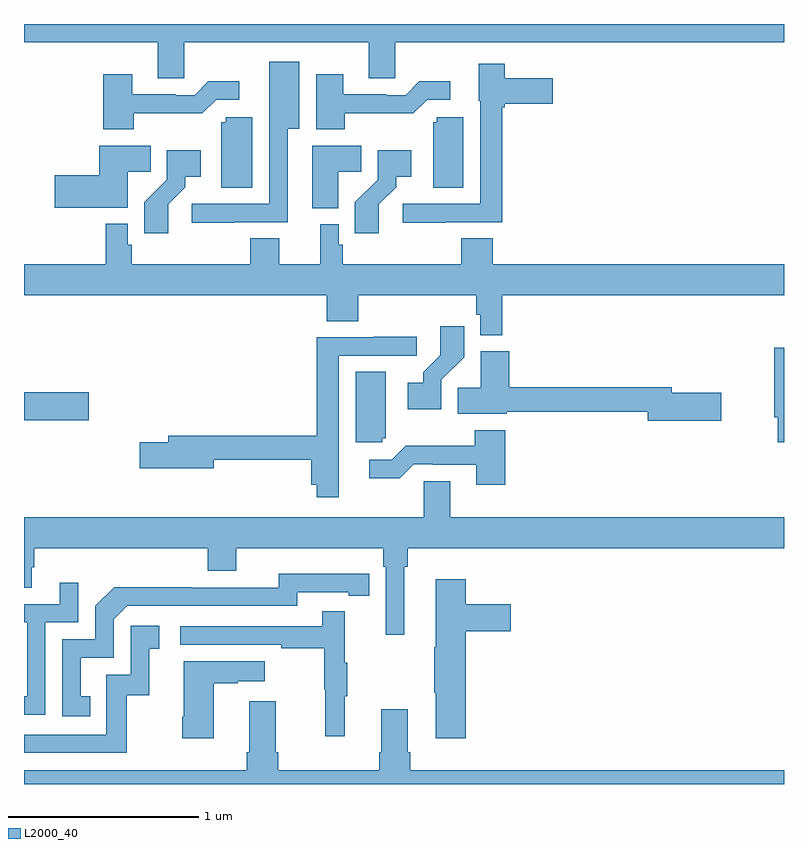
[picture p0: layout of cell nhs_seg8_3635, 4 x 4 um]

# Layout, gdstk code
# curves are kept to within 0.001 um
import gdstk
lib = gdstk.Library(unit=1e-6, precision=1e-09)
def R(c, l, rs):  # rectangles x0, y0, x1, y1
    for r in rs: c.add(gdstk.rectangle(r[:2], r[2:], *l))
def P(c, l, *ps):  # polygons
    for p in ps: c.add(gdstk.Polygon(p, *l))
L2000_40 = (2000, 40)

nhs_seg8_3635 = lib.new_cell('nhs_seg8_3635')
R(nhs_seg8_3635, L2000_40, [(335,1143.815,335.341,1143.962)])
P(nhs_seg8_3635, L2000_40, [(335.844,1145.804),(336.815,1145.804),(336.815,1145.614),(336.954,1145.614),(336.954,1145.804),(339,1145.804),(339,1145.9),(335,1145.9),(335,1145.804),(335.705,1145.804),(335.705,1145.614),(335.844,1145.614)],
  [(336.107,1144.857),(336.388,1144.857),(336.388,1145.348),(336.448,1145.348),(336.448,1145.701),(336.29,1145.701),(336.29,1145.452),(336.291,1145.452),(336.291,1144.953),(335.883,1144.953),(335.883,1144.855),(336.107,1144.855)],
  [(337.217,1144.857),(337.517,1144.857),(337.517,1145.462),(337.53,1145.462),(337.53,1145.48),(337.783,1145.48),(337.783,1145.614),(337.53,1145.614),(337.53,1145.692),(337.394,1145.692),(337.394,1145.496),(337.401,1145.496),(337.401,1144.953),(336.993,1144.953),(336.993,1144.855),(337.217,1144.855)],
  [(336.687,1145.43),(337.049,1145.429),(337.122,1145.502),(337.243,1145.502),(337.243,1145.599),(337.081,1145.599),(337.008,1145.526),(336.908,1145.526),(336.908,1145.529),(336.679,1145.529),(336.679,1145.635),(336.539,1145.635),(336.539,1145.345),(336.687,1145.345)],
  [(335.577,1145.43),(335.939,1145.429),(336.012,1145.502),(336.133,1145.502),(336.133,1145.599),(335.971,1145.599),(335.898,1145.526),(335.798,1145.526),(335.798,1145.529),(335.569,1145.529),(335.569,1145.635),(335.417,1145.635),(335.417,1145.345),(335.577,1145.345)],
  [(337.312,1145.409),(337.173,1145.409),(337.173,1145.382),(337.154,1145.382),(337.154,1145.038),(337.312,1145.038)],
  [(336.202,1145.409),(336.063,1145.409),(336.063,1145.382),(336.038,1145.382),(336.038,1145.038),(336.202,1145.038)],
  [(335.545,1145.122),(335.666,1145.122),(335.666,1145.26),(335.396,1145.26),(335.396,1145.105),(335.163,1145.105),(335.163,1144.934),(335.545,1144.934)],
  [(336.655,1145.122),(336.776,1145.122),(336.776,1145.26),(336.518,1145.26),(336.518,1144.931),(336.655,1144.931)],
  [(336.868,1144.951),(336.958,1145.041),(336.958,1145.096),(337.039,1145.096),(337.039,1145.236),(336.861,1145.236),(336.861,1145.081),(336.742,1144.962),(336.742,1144.8),(336.868,1144.8)],
  [(335.758,1144.951),(335.848,1145.041),(335.848,1145.096),(335.929,1145.096),(335.929,1145.236),(335.751,1145.236),(335.751,1145.081),(335.632,1144.962),(335.632,1144.8),(335.758,1144.8)],
  [(337.517,1144.472),(339,1144.472),(339,1144.636),(337.466,1144.636),(337.466,1144.772),(337.301,1144.772),(337.301,1144.636),(336.677,1144.636),(336.677,1144.737),(336.657,1144.737),(336.657,1144.846),(336.56,1144.846),(336.56,1144.636),(336.343,1144.636),(336.343,1144.772),(336.191,1144.772),(336.191,1144.636),(335.567,1144.636),(335.567,1144.737),(335.547,1144.737),(335.547,1144.849),(335.431,1144.849),(335.431,1144.636),(335,1144.636),(335,1144.472),(336.593,1144.472),(336.593,1144.336),(336.758,1144.336),(336.758,1144.472),(337.381,1144.472),(337.381,1144.371),(337.401,1144.371),(337.401,1144.262),(337.517,1144.262)],
  [(337.197,1144.027),(337.316,1144.146),(337.316,1144.309),(337.191,1144.309),(337.191,1144.157),(337.1,1144.067),(337.1,1144.012),(337.02,1144.012),(337.02,1143.872),(337.197,1143.872)],
  [(336.657,1144.155),(337.066,1144.155),(337.066,1144.254),(336.841,1144.254),(336.841,1144.251),(336.541,1144.251),(336.541,1143.734),(335.759,1143.734),(335.759,1143.698),(335.61,1143.698),(335.61,1143.563),(335.998,1143.563),(335.998,1143.606),(336.512,1143.606),(336.512,1143.476),(336.541,1143.476),(336.541,1143.408),(336.657,1143.408)],
  [(339,1144.197),(338.948,1144.197),(338.948,1143.831),(338.966,1143.831),(338.966,1143.698),(339,1143.698)],
  [(338.671,1143.959),(338.41,1143.959),(338.41,1143.988),(337.553,1143.988),(337.553,1144.177),(337.403,1144.177),(337.403,1143.986),(337.282,1143.986),(337.282,1143.848),(337.54,1143.848),(337.54,1143.859),(338.282,1143.859),(338.282,1143.812),(338.671,1143.812)],
  [(336.885,1143.72),(336.904,1143.72),(336.904,1144.069),(336.746,1144.069),(336.746,1143.699),(336.885,1143.699)],
  [(337.532,1143.763),(337.372,1143.763),(337.372,1143.679),(337.009,1143.679),(336.936,1143.606),(336.816,1143.606),(336.816,1143.509),(336.977,1143.509),(337.05,1143.582),(337.15,1143.582),(337.15,1143.579),(337.379,1143.579),(337.379,1143.474),(337.532,1143.474)],
  [(337,1143.044),(337.019,1143.044),(337.019,1143.14),(339,1143.14),(339,1143.304),(337.243,1143.304),(337.243,1143.494),(337.104,1143.494),(337.104,1143.304),(335,1143.304),(335,1142.932),(335.041,1142.932),(335.041,1143.042),(335.054,1143.042),(335.054,1143.14),(335.966,1143.14),(335.966,1143.023),(336.118,1143.023),(336.118,1143.14),(336.89,1143.14),(336.89,1143.044),(336.903,1143.044),(336.903,1142.685),(337,1142.685)],
  [(335.348,1142.361),(335.299,1142.361),(335.299,1142.565),(335.472,1142.565),(335.472,1142.766),(335.544,1142.838),(336.438,1142.838),(336.438,1142.91),(336.71,1142.91),(336.71,1142.89),(336.818,1142.89),(336.818,1143.006),(336.342,1143.007),(336.342,1142.934),(335.882,1142.934),(335.882,1142.936),(335.474,1142.936),(335.376,1142.838),(335.376,1142.661),(335.202,1142.661),(335.202,1142.256),(335.348,1142.256)],
  [(337.325,1142.705),(337.561,1142.705),(337.561,1142.847),(337.325,1142.847),(337.325,1142.977),(337.166,1142.977),(337.166,1142.621),(337.159,1142.621),(337.159,1142.38),(337.166,1142.38),(337.166,1142.142),(337.325,1142.142)],
  [(335.112,1142.751),(335.286,1142.751),(335.286,1142.959),(335.189,1142.959),(335.189,1142.847),(335,1142.847),(335,1142.751),(335.016,1142.751),(335.016,1142.362),(335,1142.362),(335,1142.265),(335.112,1142.265)],
  [(336.689,1142.363),(336.7,1142.363),(336.7,1142.537),(336.689,1142.537),(336.689,1142.809),(336.571,1142.809),(336.571,1142.73),(335.823,1142.73),(335.823,1142.634),(336.355,1142.634),(336.355,1142.614),(336.579,1142.614),(336.579,1142.4),(336.586,1142.4),(336.586,1142.151),(336.689,1142.151)],
  [(335.542,1142.367),(335.66,1142.367),(335.66,1142.613),(335.713,1142.613),(335.713,1142.734),(335.562,1142.734),(335.562,1142.475),(335.433,1142.475),(335.433,1142.16),(335,1142.16),(335,1142.064),(335.542,1142.064)],
  [(335.998,1142.431),(336.125,1142.431),(336.125,1142.441),(336.268,1142.441),(336.268,1142.545),(335.84,1142.545),(335.84,1142.254),(335.833,1142.254),(335.833,1142.142),(335.998,1142.142)],
  [(339,1141.972),(337.034,1141.972),(337.034,1142.068),(337.021,1142.068),(337.021,1142.293),(336.881,1142.293),(336.881,1142.068),(336.869,1142.068),(336.869,1141.972),(336.338,1141.972),(336.338,1142.068),(336.325,1142.068),(336.325,1142.335),(336.185,1142.335),(336.185,1142.068),(336.173,1142.068),(336.173,1141.972),(335,1141.972),(335,1141.9),(339,1141.9)])

lib.write_gds('nhs_seg8_3635.gds')
